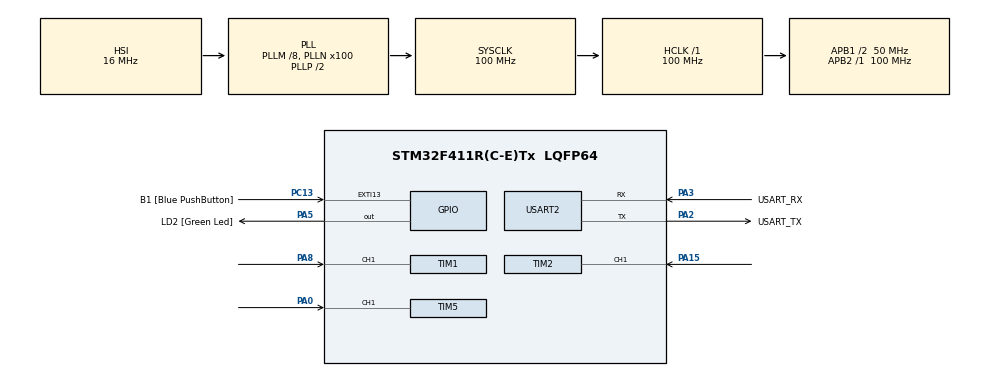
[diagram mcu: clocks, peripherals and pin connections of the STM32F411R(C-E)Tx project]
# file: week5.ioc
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Mcu.Family=STM32F4
VP_TIM5_VS_ClockSourceINT.Mode=Internal
Dma.TIM2_CH1.2.MemInc=DMA_MINC_ENABLE
Dma.TIM2_CH1.2.PeriphDataAlignment=DMA_PDATAALIGN_WORD
RCC.CortexFreq_Value=100000000
TIM2.Channel-Input_Capture1_from_TI1=TIM_CHANNEL_1
NVIC.DMA1_Stream2_IRQn=true\:0\:0\:false\:false\:true\:false\:true
PA14.GPIO_Label=TCK
Dma.TIM1_CH1.0.MemDataAlignment=DMA_MDATAALIGN_HALFWORD
RCC.SYSCLKSource=RCC_SYSCLKSOURCE_PLLCLK
ProjectManager.StackSize=0x400
Dma.TIM1_CH1.0.MemInc=DMA_MINC_ENABLE
Dma.TIM2_CH1.2.Mode=DMA_CIRCULAR
Dma.TIM2_CH1.2.PeriphInc=DMA_PINC_DISABLE
TIM1.Prescaler=99
Dma.TIM5_CH1.1.Direction=DMA_PERIPH_TO_MEMORY
Dma.TIM2_CH1.2.MemDataAlignment=DMA_MDATAALIGN_WORD
PH0\ -\ OSC_IN.Signal=RCC_OSC_IN
NVIC.TIM5_IRQn=true\:0\:0\:false\:false\:true\:true\:true
RCC.RCC_RTC_Clock_Source=RCC_RTCCLKSOURCE_LSI
RCC.HCLKFreq_Value=100000000
RCC.APB2TimFreq_Value=100000000
RCC.AHBFreq_Value=100000000
NVIC.TIM1_TRG_COM_TIM11_IRQn=true\:0\:0\:false\:false\:true\:true\:true
RCC.HSE_VALUE=8000000
PC13-ANTI_TAMP.Signal=GPXTI13
PC14-OSC32_IN.Mode=LSE-External-Oscillator
PA14.Mode=Serial_Wire
Dma.TIM5_CH1.1.PeriphDataAlignment=DMA_PDATAALIGN_WORD
NVIC.TIM2_IRQn=true\:0\:0\:false\:false\:true\:true\:true
PA8.Signal=S_TIM1_CH1
TIM5.Channel-Input_Capture1_from_TI1=TIM_CHANNEL_1
VP_TIM1_VS_ClockSourceINT.Mode=Internal
RCC.FLatency-AdvancedSettings=FLASH_LATENCY_3
Dma.TIM5_CH1.1.Mode=DMA_CIRCULAR
Mcu.Package=LQFP64
TIM2.Prescaler=99
USART2.VirtualMode=VM_ASYNC
PA2.GPIO_Label=USART_TX
PA15.Signal=S_TIM2_CH1_ETR
Dma.Request2=TIM2_CH1
Dma.Request1=TIM5_CH1
RCC.APB1TimFreq_Value=100000000
TIM1.ICPolarity_CH1=TIM_INPUTCHANNELPOLARITY_RISING
SH.S_TIM5_CH1.0=TIM5_CH1,Input_Capture1_from_TI1
TIM1.Period=65535
Dma.TIM5_CH1.1.Instance=DMA1_Stream2
Dma.Request0=TIM1_CH1
TIM1.ICFilter_CH1=2
Dma.TIM5_CH1.1.FIFOMode=DMA_FIFOMODE_DISABLE
PA3.Signal=USART2_RX
PB3.GPIO_Label=SWO
PC15-OSC32_OUT.Mode=LSE-External-Oscillator
PC13-ANTI_TAMP.GPIO_Label=B1 [Blue PushButton]
PH1\ -\ OSC_OUT.Mode=HSE-External-Clock-Source
Dma.TIM1_CH1.0.FIFOMode=DMA_FIFOMODE_DISABLE
TIM11.Prescaler=99
NVIC.DMA2_Stream1_IRQn=true\:0\:0\:false\:false\:true\:false\:true
RCC.APB1CLKDivider=RCC_HCLK_DIV2
PC14-OSC32_IN.Signal=RCC_OSC32_IN
Dma.TIM1_CH1.0.PeriphDataAlignment=DMA_PDATAALIGN_HALFWORD
Dma.TIM1_CH1.0.Priority=DMA_PRIORITY_LOW
PA0-WKUP.Signal=S_TIM5_CH1
VP_TIM11_VS_ClockSourceINT.Mode=Enable_Timer
Dma.TIM1_CH1.0.PeriphInc=DMA_PINC_DISABLE
PA13.Signal=SYS_JTMS-SWDIO
PA3.Mode=Asynchronous
PH0\ -\ OSC_IN.Mode=HSE-External-Clock-Source
Dma.TIM1_CH1.0.Mode=DMA_CIRCULAR
SH.S_TIM1_CH1.0=TIM1_CH1,Input_Capture1_from_TI1
Dma.TIM5_CH1.1.Priority=DMA_PRIORITY_LOW
ProjectManager.TargetToolchain=STM32CubeIDE
NVIC.DMA1_Stream5_IRQn=true\:0\:0\:false\:false\:true\:false\:true
TIM2.ICFilter_CH1=2
PC15-OSC32_OUT.Signal=RCC_OSC32_OUT
PA5.Signal=GPIO_Output
Dma.TIM5_CH1.1.MemDataAlignment=DMA_MDATAALIGN_WORD
PH1\ -\ OSC_OUT.Signal=RCC_OSC_OUT
Dma.TIM2_CH1.2.Priority=DMA_PRIORITY_LOW
board=NUCLEO-F411RE
RCC.VCOOutputFreq_Value=200000000
RCC.APB2Freq_Value=100000000
VP_TIM2_VS_ClockSourceINT.Mode=Internal
Dma.TIM5_CH1.1.PeriphInc=DMA_PINC_DISABLE
RCC.RCC_RTC_Clock_SourceVirtual=RCC_RTCCLKSOURCE_LSI
PA13.Mode=Serial_Wire
Mcu.Name=STM32F411R(C-E)Tx
PA2.Signal=USART2_TX
PA13.GPIO_Label=TMS
Dma.TIM1_CH1.0.Direction=DMA_PERIPH_TO_MEMORY
RCC.48MHZClocksFreq_Value=50000000
PB3.Signal=SYS_JTDO-SWO
RCC.SYSCLKFreq_VALUE=100000000
Dma.TIM1_CH1.0.Instance=DMA2_Stream1
Dma.TIM2_CH1.2.Direction=DMA_PERIPH_TO_MEMORY
PA5.GPIO_Label=LD2 [Green Led]
Dma.TIM5_CH1.1.MemInc=DMA_MINC_ENABLE
TIM5.Prescaler=99
TIM1.Channel-Input_Capture1_from_TI1=TIM_CHANNEL_1
PC13-ANTI_TAMP.GPIO_ModeDefaultEXTI=GPIO_MODE_IT_FALLING
SH.S_TIM2_CH1_ETR.0=TIM2_CH1,Input_Capture1_from_TI1
PA14.Signal=SYS_JTCK-SWCLK
ProjectManager.HeapSize=0x200
RCC.HSI_VALUE=16000000
NVIC.PriorityGroup=NVIC_PRIORITYGROUP_0
RCC.PLLM=8
RCC.PLLN=100
PA2.Mode=Asynchronous
Dma.TIM2_CH1.2.FIFOMode=DMA_FIFOMODE_DISABLE
RCC.APB1Freq_Value=50000000
PA3.GPIO_Label=USART_RX
Dma.TIM2_CH1.2.Instance=DMA1_Stream5

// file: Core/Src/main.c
/* USER CODE BEGIN Header */
/**
 ******************************************************************************
 * @file           : main.c
 * @brief          : Main program body
 ******************************************************************************
 * @attention
 *
 * <h2><center>&copy; Copyright (c) 2021 STMicroelectronics.
 * All rights reserved.</center></h2>
 *
 * This software component is licensed by ST under BSD 3-Clause license,
 * the "License"; You may not use this file except in compliance with the
 * License. You may obtain a copy of the License at:
 *                        opensource.org/licenses/BSD-3-Clause
 *
 ******************************************************************************
 */
/* USER CODE END Header */
#include "main.h"

/* USER CODE BEGIN PD */
#define CAPTURENUM 16

/* USER CODE END PD */

TIM_HandleTypeDef htim1;
TIM_HandleTypeDef htim2;
TIM_HandleTypeDef htim5;
TIM_HandleTypeDef htim11;
DMA_HandleTypeDef hdma_tim1_ch1;
DMA_HandleTypeDef hdma_tim2_ch1;
DMA_HandleTypeDef hdma_tim5_ch1;

UART_HandleTypeDef huart2;

/* USER CODE BEGIN PV */

//12 P/R , Gear reduction 1 : 64
//DMA Buffer
uint32_t capturedata[CAPTURENUM] = { 0 };
//diff time of capture data
int32_t DiffTime[CAPTURENUM-1] = { 0 };
//Mean difftime
float MeanTime =0;
float RPM =0;

//for microsecond measurement
uint64_t _micros =0;
/* USER CODE END PV */

void SystemClock_Config(void);
static void MX_GPIO_Init(void);
static void MX_DMA_Init(void);
static void MX_USART2_UART_Init(void);
static void MX_TIM1_Init(void);
static void MX_TIM11_Init(void);
static void MX_TIM2_Init(void);
static void MX_TIM5_Init(void);
/* USER CODE BEGIN PFP */
//Read speed of encoder
void encoderSpeedReaderCycle();
uint64_t micros();
/* USER CODE END PFP */

int main(void)
{

  /* MCU Configuration--------------------------------------------------------*/

  /* Reset of all peripherals, Initializes the Flash interface and the Systick. */
  HAL_Init();

  /* Configure the system clock */
  SystemClock_Config();

  /* Initialize all configured peripherals */
  MX_GPIO_Init();
  MX_DMA_Init();
  MX_USART2_UART_Init();
  MX_TIM1_Init();
  MX_TIM11_Init();
  MX_TIM2_Init();
  MX_TIM5_Init();
  /* USER CODE BEGIN 2 */
      //start Microsec timer
    HAL_TIM_Base_Start_IT(&htim5);
    //start Input capture in DMA
    HAL_TIM_Base_Start(&htim2);
    HAL_TIM_IC_Start_DMA(&htim2, TIM_CHANNEL_1, (uint32_t*)capturedata,
            CAPTURENUM);
    uint64_t timestamp =0;
  /* USER CODE END 2 */

  /* Infinite loop */
  /* USER CODE BEGIN WHILE */
    while (1) {
        //read Time of encoder
        encoderSpeedReaderCycle();

        if(micros()-timestamp > 100000) //0.5 hz use t = 2000000 microsec = 2sec  //  5 hz  t= 0.2 sec = 200000microsec
        {
            timestamp = micros();
            HAL_GPIO_TogglePin(LD2_GPIO_Port,LD2_Pin);
        }

    /* USER CODE END WHILE */

    }
}

void SystemClock_Config(void)
{
  RCC_OscInitTypeDef RCC_OscInitStruct = {0};
  RCC_ClkInitTypeDef RCC_ClkInitStruct = {0};

  /** Configure the main internal regulator output voltage
  */
  __HAL_RCC_PWR_CLK_ENABLE();
  __HAL_PWR_VOLTAGESCALING_CONFIG(PWR_REGULATOR_VOLTAGE_SCALE1);
  /** Initializes the RCC Oscillators according to the specified parameters
  * in the RCC_OscInitTypeDef structure.
  */
  RCC_OscInitStruct.OscillatorType = RCC_OSCILLATORTYPE_HSI;
  RCC_OscInitStruct.HSIState = RCC_HSI_ON;
  RCC_OscInitStruct.HSICalibrationValue = RCC_HSICALIBRATION_DEFAULT;
  RCC_OscInitStruct.PLL.PLLState = RCC_PLL_ON;
  RCC_OscInitStruct.PLL.PLLSource = RCC_PLLSOURCE_HSI;
  RCC_OscInitStruct.PLL.PLLM = 8;
  RCC_OscInitStruct.PLL.PLLN = 100;
  RCC_OscInitStruct.PLL.PLLP = RCC_PLLP_DIV2;
  RCC_OscInitStruct.PLL.PLLQ = 4;
  if (HAL_RCC_OscConfig(&RCC_OscInitStruct) != HAL_OK)
  {
    Error_Handler();
  }
  /** Initializes the CPU, AHB and APB buses clocks
  */
  RCC_ClkInitStruct.ClockType = RCC_CLOCKTYPE_HCLK|RCC_CLOCKTYPE_SYSCLK
                              |RCC_CLOCKTYPE_PCLK1|RCC_CLOCKTYPE_PCLK2;
  RCC_ClkInitStruct.SYSCLKSource = RCC_SYSCLKSOURCE_PLLCLK;
  RCC_ClkInitStruct.AHBCLKDivider = RCC_SYSCLK_DIV1;
  RCC_ClkInitStruct.APB1CLKDivider = RCC_HCLK_DIV2;
  RCC_ClkInitStruct.APB2CLKDivider = RCC_HCLK_DIV1;

  if (HAL_RCC_ClockConfig(&RCC_ClkInitStruct, FLASH_LATENCY_3) != HAL_OK)
  {
    Error_Handler();
  }
}

static void MX_TIM1_Init(void)
{

  TIM_ClockConfigTypeDef sClockSourceConfig = {0};
  TIM_MasterConfigTypeDef sMasterConfig = {0};
  TIM_IC_InitTypeDef sConfigIC = {0};

  htim1.Instance = TIM1;
  htim1.Init.Prescaler = 99;
  htim1.Init.CounterMode = TIM_COUNTERMODE_UP;
  htim1.Init.Period = 65535;
  htim1.Init.ClockDivision = TIM_CLOCKDIVISION_DIV1;
  htim1.Init.RepetitionCounter = 0;
  htim1.Init.AutoReloadPreload = TIM_AUTORELOAD_PRELOAD_DISABLE;
  if (HAL_TIM_Base_Init(&htim1) != HAL_OK)
  {
    Error_Handler();
  }
  sClockSourceConfig.ClockSource = TIM_CLOCKSOURCE_INTERNAL;
  if (HAL_TIM_ConfigClockSource(&htim1, &sClockSourceConfig) != HAL_OK)
  {
    Error_Handler();
  }
  if (HAL_TIM_IC_Init(&htim1) != HAL_OK)
  {
    Error_Handler();
  }
  sMasterConfig.MasterOutputTrigger = TIM_TRGO_RESET;
  sMasterConfig.MasterSlaveMode = TIM_MASTERSLAVEMODE_DISABLE;
  if (HAL_TIMEx_MasterConfigSynchronization(&htim1, &sMasterConfig) != HAL_OK)
  {
    Error_Handler();
  }
  sConfigIC.ICPolarity = TIM_INPUTCHANNELPOLARITY_RISING;
  sConfigIC.ICSelection = TIM_ICSELECTION_DIRECTTI;
  sConfigIC.ICPrescaler = TIM_ICPSC_DIV1;
  sConfigIC.ICFilter = 2;
  if (HAL_TIM_IC_ConfigChannel(&htim1, &sConfigIC, TIM_CHANNEL_1) != HAL_OK)
  {
    Error_Handler();
  }

}

static void MX_TIM2_Init(void)
{

  TIM_ClockConfigTypeDef sClockSourceConfig = {0};
  TIM_MasterConfigTypeDef sMasterConfig = {0};
  TIM_IC_InitTypeDef sConfigIC = {0};

  htim2.Instance = TIM2;
  htim2.Init.Prescaler = 99;
  htim2.Init.CounterMode = TIM_COUNTERMODE_UP;
  htim2.Init.Period = 4294967295;
  htim2.Init.ClockDivision = TIM_CLOCKDIVISION_DIV1;
  htim2.Init.AutoReloadPreload = TIM_AUTORELOAD_PRELOAD_DISABLE;
  if (HAL_TIM_Base_Init(&htim2) != HAL_OK)
  {
    Error_Handler();
  }
  sClockSourceConfig.ClockSource = TIM_CLOCKSOURCE_INTERNAL;
  if (HAL_TIM_ConfigClockSource(&htim2, &sClockSourceConfig) != HAL_OK)
  {
    Error_Handler();
  }
  if (HAL_TIM_IC_Init(&htim2) != HAL_OK)
  {
    Error_Handler();
  }
  sMasterConfig.MasterOutputTrigger = TIM_TRGO_RESET;
  sMasterConfig.MasterSlaveMode = TIM_MASTERSLAVEMODE_DISABLE;
  if (HAL_TIMEx_MasterConfigSynchronization(&htim2, &sMasterConfig) != HAL_OK)
  {
    Error_Handler();
  }
  sConfigIC.ICPolarity = TIM_INPUTCHANNELPOLARITY_RISING;
  sConfigIC.ICSelection = TIM_ICSELECTION_DIRECTTI;
  sConfigIC.ICPrescaler = TIM_ICPSC_DIV1;
  sConfigIC.ICFilter = 2;
  if (HAL_TIM_IC_ConfigChannel(&htim2, &sConfigIC, TIM_CHANNEL_1) != HAL_OK)
  {
    Error_Handler();
  }

}

static void MX_TIM5_Init(void)
{

  TIM_ClockConfigTypeDef sClockSourceConfig = {0};
  TIM_MasterConfigTypeDef sMasterConfig = {0};
  TIM_IC_InitTypeDef sConfigIC = {0};

  htim5.Instance = TIM5;
  htim5.Init.Prescaler = 99;
  htim5.Init.CounterMode = TIM_COUNTERMODE_UP;
  htim5.Init.Period = 4294967295;
  htim5.Init.ClockDivision = TIM_CLOCKDIVISION_DIV1;
  htim5.Init.AutoReloadPreload = TIM_AUTORELOAD_PRELOAD_DISABLE;
  if (HAL_TIM_Base_Init(&htim5) != HAL_OK)
  {
    Error_Handler();
  }
  sClockSourceConfig.ClockSource = TIM_CLOCKSOURCE_INTERNAL;
  if (HAL_TIM_ConfigClockSource(&htim5, &sClockSourceConfig) != HAL_OK)
  {
    Error_Handler();
  }
  if (HAL_TIM_IC_Init(&htim5) != HAL_OK)
  {
    Error_Handler();
  }
  sMasterConfig.MasterOutputTrigger = TIM_TRGO_RESET;
  sMasterConfig.MasterSlaveMode = TIM_MASTERSLAVEMODE_DISABLE;
  if (HAL_TIMEx_MasterConfigSynchronization(&htim5, &sMasterConfig) != HAL_OK)
  {
    Error_Handler();
  }
  sConfigIC.ICPolarity = TIM_INPUTCHANNELPOLARITY_RISING;
  sConfigIC.ICSelection = TIM_ICSELECTION_DIRECTTI;
  sConfigIC.ICPrescaler = TIM_ICPSC_DIV1;
  sConfigIC.ICFilter = 0;
  if (HAL_TIM_IC_ConfigChannel(&htim5, &sConfigIC, TIM_CHANNEL_1) != HAL_OK)
  {
    Error_Handler();
  }

}

static void MX_TIM11_Init(void)
{

  htim11.Instance = TIM11;
  htim11.Init.Prescaler = 99;
  htim11.Init.CounterMode = TIM_COUNTERMODE_UP;
  htim11.Init.Period = 65535;
  htim11.Init.ClockDivision = TIM_CLOCKDIVISION_DIV1;
  htim11.Init.AutoReloadPreload = TIM_AUTORELOAD_PRELOAD_DISABLE;
  if (HAL_TIM_Base_Init(&htim11) != HAL_OK)
  {
    Error_Handler();
  }

}

static void MX_USART2_UART_Init(void)
{

  huart2.Instance = USART2;
  huart2.Init.BaudRate = 115200;
  huart2.Init.WordLength = UART_WORDLENGTH_8B;
  huart2.Init.StopBits = UART_STOPBITS_1;
  huart2.Init.Parity = UART_PARITY_NONE;
  huart2.Init.Mode = UART_MODE_TX_RX;
  huart2.Init.HwFlowCtl = UART_HWCONTROL_NONE;
  huart2.Init.OverSampling = UART_OVERSAMPLING_16;
  if (HAL_UART_Init(&huart2) != HAL_OK)
  {
    Error_Handler();
  }

}

static void MX_DMA_Init(void)
{

  /* DMA controller clock enable */
  __HAL_RCC_DMA2_CLK_ENABLE();
  __HAL_RCC_DMA1_CLK_ENABLE();

  /* DMA interrupt init */
  /* DMA1_Stream2_IRQn interrupt configuration */
  HAL_NVIC_SetPriority(DMA1_Stream2_IRQn, 0, 0);
  HAL_NVIC_EnableIRQ(DMA1_Stream2_IRQn);
  /* DMA1_Stream5_IRQn interrupt configuration */
  HAL_NVIC_SetPriority(DMA1_Stream5_IRQn, 0, 0);
  HAL_NVIC_EnableIRQ(DMA1_Stream5_IRQn);
  /* DMA2_Stream1_IRQn interrupt configuration */
  HAL_NVIC_SetPriority(DMA2_Stream1_IRQn, 0, 0);
  HAL_NVIC_EnableIRQ(DMA2_Stream1_IRQn);

}

static void MX_GPIO_Init(void)
{
  GPIO_InitTypeDef GPIO_InitStruct = {0};

  /* GPIO Ports Clock Enable */
  __HAL_RCC_GPIOC_CLK_ENABLE();
  __HAL_RCC_GPIOH_CLK_ENABLE();
  __HAL_RCC_GPIOA_CLK_ENABLE();
  __HAL_RCC_GPIOB_CLK_ENABLE();

  /*Configure GPIO pin Output Level */
  HAL_GPIO_WritePin(LD2_GPIO_Port, LD2_Pin, GPIO_PIN_RESET);

  /*Configure GPIO pin : B1_Pin */
  GPIO_InitStruct.Pin = B1_Pin;
  GPIO_InitStruct.Mode = GPIO_MODE_IT_FALLING;
  GPIO_InitStruct.Pull = GPIO_NOPULL;
  HAL_GPIO_Init(B1_GPIO_Port, &GPIO_InitStruct);

  /*Configure GPIO pin : LD2_Pin */
  GPIO_InitStruct.Pin = LD2_Pin;
  GPIO_InitStruct.Mode = GPIO_MODE_OUTPUT_PP;
  GPIO_InitStruct.Pull = GPIO_NOPULL;
  GPIO_InitStruct.Speed = GPIO_SPEED_FREQ_LOW;
  HAL_GPIO_Init(LD2_GPIO_Port, &GPIO_InitStruct);

}

/* USER CODE BEGIN 4 */
void encoderSpeedReaderCycle() {
    //get DMA Position form number of data
    uint32_t CapPos =CAPTURENUM -  __HAL_DMA_GET_COUNTER(htim2.hdma[TIM_DMA_ID_CC1]);  //capture num - unfilled
    uint32_t sum = 0 ;

    //calculate diff from all buffer
    for(register int i=0 ;i < CAPTURENUM-1;i++)
    {
        DiffTime[i]  = capturedata[(CapPos+1+i)%CAPTURENUM]-capturedata[(CapPos+i)%CAPTURENUM];  // next - now
        //time never go back, but timer can over flow , conpensate that
        if (DiffTime[i] <0)
        {
            DiffTime[i]+=4294967295;  // prevent negative
        }
        //Sum all 15 Diff
        sum += DiffTime[i];
    }

    //mean all 15 Diff
    MeanTime =sum / (float)(CAPTURENUM-1);
    RPM =60000000/(12*64*MeanTime);
}
uint64_t micros()
{
    return _micros + htim5.Instance->CNT;
}
//interupt
void HAL_TIM_PeriodElapsedCallback(TIM_HandleTypeDef *htim)
{
 if(htim == &htim5)
 {
     _micros += 4294967295;
 }
}
/* USER CODE END 4 */

void Error_Handler(void)
{
    __disable_irq();
    while (1) {
    }
}

/************************ (C) COPYRIGHT STMicroelectronics *****END OF FILE****/
